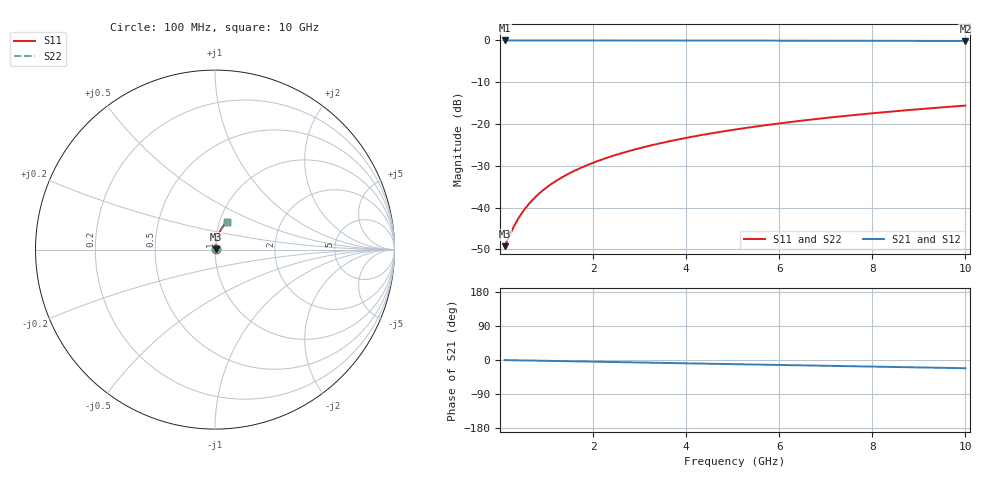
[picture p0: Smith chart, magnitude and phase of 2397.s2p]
# Hz S RI R 50.00
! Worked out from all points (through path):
!   100 points, 100 MHz to 10 GHz, reference 50 ohm
!   highest |S21| = -0.03 dB at 100 MHz (marker M1); lowest = -0.2 dB at 10 GHz (marker M2)
!   group delay of S21, straight-line fit = 6.03 ps
!   lowest |S11| = -49.2 dB at 100 MHz (marker M3), VSWR 1.01, Z = 50.3 + j0.171 ohm
!   |S11| at or under -10 dB: start of sweep to end of sweep
!   |S22| runs from -49.2 to -15.6 dB; largest |S21 - S12| = 0
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1e8  0.003 0.0017  0.997 -0.0038  0.997 -0.0038  0.003 0.0017
3e8  0.00309 0.00509  0.9969 -0.0114  0.9969 -0.0114  0.00309 0.00509
4e8  0.00314 0.00679  0.9968 -0.0152  0.9968 -0.0152  0.00314 0.00679
5e8  0.00321 0.00848  0.9967 -0.019  0.9967 -0.019  0.00321 0.00848
6e8  0.00329 0.0102  0.9966 -0.0228  0.9966 -0.0228  0.00329 0.0102
7e8  0.00338 0.0119  0.9965 -0.0266  0.9965 -0.0266  0.00338 0.0119
8e8  0.00349 0.0136  0.9964 -0.0304  0.9964 -0.0304  0.00349 0.0136
9e8  0.0036 0.0153  0.9962 -0.0342  0.9962 -0.0342  0.0036 0.0153
1e9  0.00373 0.017  0.996 -0.038  0.996 -0.038  0.00373 0.017
1.2e9  0.00402 0.0203  0.9956 -0.0456  0.9956 -0.0456  0.00402 0.0203
1.5e9  0.00456 0.0254  0.9949 -0.0569  0.9949 -0.0569  0.00456 0.0254
1.8e9  0.00521 0.0304  0.994 -0.0683  0.994 -0.0683  0.00521 0.0304
2.1e9  0.00598 0.0355  0.993 -0.0796  0.993 -0.0796  0.00598 0.0355
2.5e9  0.00717 0.0421  0.9914 -0.0947  0.9914 -0.0947  0.00717 0.0421
2.9e9  0.00857 0.0488  0.9895 -0.1097  0.9895 -0.1097  0.00857 0.0488
3.4e9  0.0106 0.057  0.9868 -0.1285  0.9868 -0.1285  0.0106 0.057
4.2e9  0.0145 0.0699  0.9815 -0.1583  0.9815 -0.1583  0.0145 0.0699
5.1e9  0.0198 0.0842  0.9743 -0.1915  0.9743 -0.1915  0.0198 0.0842
5.9e9  0.0253 0.0965  0.9669 -0.2207  0.9669 -0.2207  0.0253 0.0965
6.7e9  0.0315 0.1084  0.9583 -0.2495  0.9583 -0.2495  0.0315 0.1084
8.4e9  0.047 0.1323  0.937 -0.3093  0.937 -0.3093  0.047 0.1323
1e10  0.0642 0.1528  0.9131 -0.3635  0.9131 -0.3635  0.0642 0.1528
